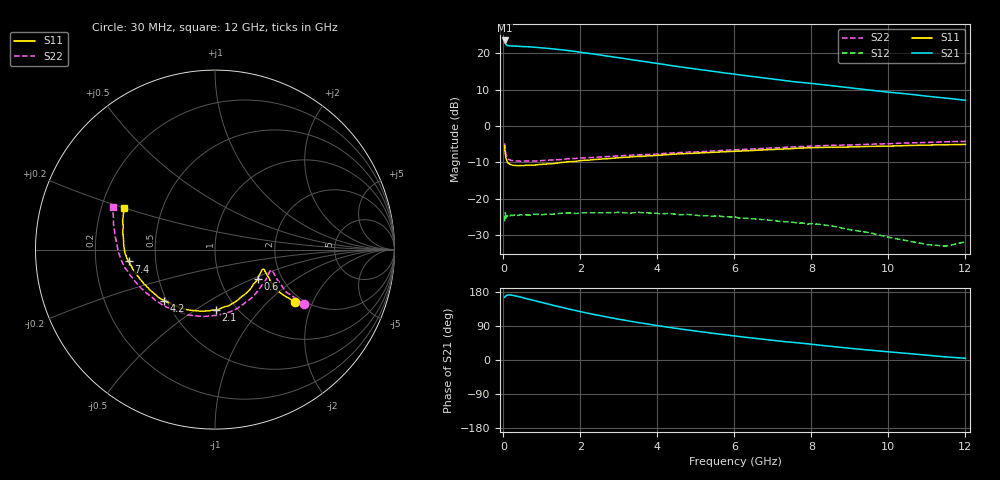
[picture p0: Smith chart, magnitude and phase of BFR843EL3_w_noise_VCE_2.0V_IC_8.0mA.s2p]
! Infineon Technologies  Discrete & RF Semiconductors
! BFR843EL3
! VCE =  2.0 V,  IC =  8.0 mA
! Common Emitter S-Parameters:  Aug 2013
# GHz  S  MA  R  50
!  f  S11  S21  S12  S22
! GHz  MAG  ANG  MAG  ANG  MAG  ANG  MAG  ANG
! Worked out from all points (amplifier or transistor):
!   103 points, 30 MHz to 12 GHz, reference 50 ohm
!   highest |S21| = 23.6 dB at 30 MHz (marker M1)
!   |S21| within 3 dB of that: start of sweep to 1.834 GHz
!   unconditionally stable (mu >= 1): 346.9 MHz to 353.4 MHz; 5.81 GHz to end of sweep
!   at 400 MHz: K = 0.99, MSG = 23.2 dB, |S12| = -24.5 dB
!   at 3.7 GHz: K = 0.83, MSG = 20.8 dB, |S12| = -23.9 dB
!   at 12 GHz: K = 3.72, MAG = 10.9 dB, |S12| = -31.9 dB
!   lowest NFmin = 0.89 dB at 450 MHz
!   S11 on the Smith chart (normalised r, x): 30 MHz: 1.83, -1.48; 600 MHz: 1.52, -0.53; 2.1 GHz: 0.80, -0.61; 4.2 GHz: 0.49, -0.33; 7.4 GHz: 0.35, -0.06; 12 GHz: 0.30, +0.20
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0.03  0.5312 -33.2  15.06 165.6  0.0483 32.3  0.579 -31.4
0.04  0.4573 -33.6  14.26 166.7  0.0546 25.1  0.5039 -31.0
0.06  0.3777 -30.9  13.39 168.9  0.0517 14.2  0.4218 -28.4
0.08  0.3426 -27.9  13.04 170.5  0.0574 12.0  0.3838 -25.7
0.1  0.3205 -25.7  12.89 171.2  0.0582 10.9  0.3656 -23.5
0.15  0.3007 -22.5  12.7 171.8  0.0572 6.8  0.3433 -20.7
0.35  0.2848 -24.8  12.54 168.3  0.0583 1.8  0.3281 -22.7
0.6  0.2882 -34.0  12.36 162.0  0.0595 2.8  0.3297 -31.6
1  0.2959 -50.3  11.9 151.7  0.06 1.9  0.3341 -47.3
1.4  0.3088 -66.0  11.36 141.7  0.0622 0.7  0.3426 -62.1
1.8  0.3229 -80.2  10.73 132.2  0.0625 1.1  0.3561 -75.8
2.1  0.3371 -89.4  10.19 125.4  0.0638 -0.4  0.3628 -85.5
2.6  0.3529 -103.3  9.348 115.2  0.0636 -3.6  0.3766 -98.8
3.2  0.372 -116.8  8.385 104.0  0.0636 -5.9  0.3942 -112.4
4.1  0.3967 -133.0  7.131 89.2  0.0618 -9.3  0.4151 -128.7
4.2  0.401 -134.7  7.004 87.6  0.0621 -9.6  0.4198 -130.4
5.1  0.4247 -147.6  5.983 74.9  0.0581 -14.1  0.4422 -143.7
6.1  0.4509 -159.4  5.089 62.3  0.0542 -17.1  0.4726 -155.5
7.4  0.4844 -172.2  4.162 47.5  0.0477 -19.7  0.5124 -168.8
8.5  0.5093 177.0  3.602 36.0  0.0423 -21.9  0.5407 -179.4
10.5  0.538 163.0  2.759 17.3  0.0262 -7.7  0.5834 165.9
12  0.5564 155.4  2.264 4.6  0.0254 28.7  0.6136 157.4
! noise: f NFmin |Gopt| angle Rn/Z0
0.45  0.89  0.09  34  0.12
0.9  0.9  0.1  48  0.12
1.5  0.92  0.11  60  0.13
1.9  0.94  0.11  65  0.13
2.4  0.96  0.12  79  0.12
3.5  0.99  0.13  96  0.12
5.5  1.05  0.18  132  0.11
8  1.12  0.28  170  0.07
10  1.18  0.4  209  0.06
